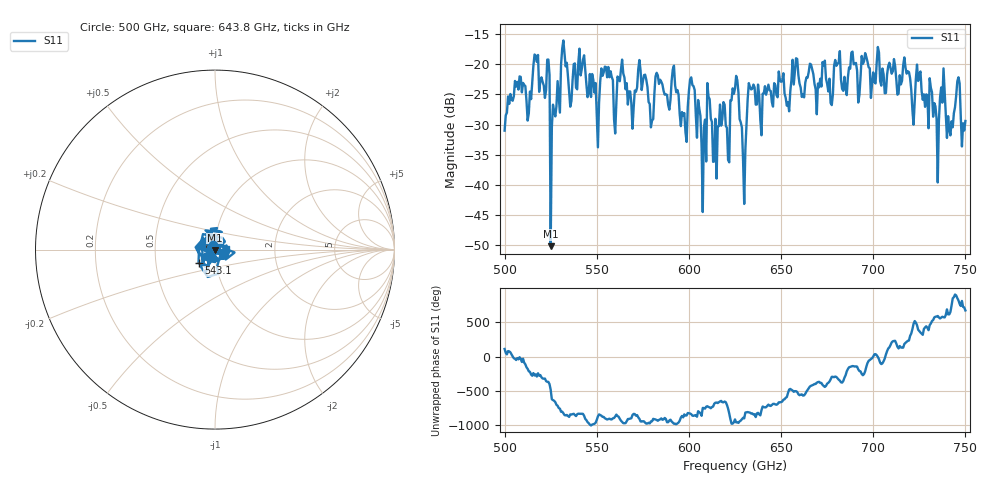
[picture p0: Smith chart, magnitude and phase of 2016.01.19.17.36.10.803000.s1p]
!Created with skrf (http://scikit-rf.org).
# GHz S RI R 50.0
!freq ReS11 ImS11
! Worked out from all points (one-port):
!   401 points, 500 GHz to 750 GHz, reference 50 ohm
!   lowest |S11| = -50.2 dB at 525 GHz (marker M1), VSWR 1.01, Z = 49.8 - j0.259 ohm
!   |S11| at or under -10 dB: start of sweep to end of sweep
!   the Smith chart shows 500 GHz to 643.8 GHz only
!   S11 on the Smith chart (normalised r, x): 500 GHz: 0.98, +0.05; 543.1 GHz: 0.82, -0.13; 643.8 GHz: 1.13, +0.01
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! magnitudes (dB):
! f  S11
! 500 GHz  -31.0
! 506.9 GHz  -22.9
! 513.1 GHz  -28.1
! 516.9 GHz  -18.5
! 523.1 GHz  -19.2
! 525 GHz  -50.2
! 526.2 GHz  -26.7
! 531.2 GHz  -17.4
! 543.1 GHz  -18.5
! 550 GHz  -28.5
! 562.5 GHz  -22.8
! 579.4 GHz  -30.5
! 583.1 GHz  -21.8
! 593.8 GHz  -24.3
! 597.5 GHz  -28.1
! 601.9 GHz  -23.4
! 608.1 GHz  -30.4
! 611.2 GHz  -25.8
! 614.4 GHz  -29.0
! 625 GHz  -24.0
! 630 GHz  -43.2
! 633.8 GHz  -24.2
! 643.8 GHz  -24.3
! 656.2 GHz  -19.3
! 687.5 GHz  -20.7
! 718.8 GHz  -21.2
! 733.8 GHz  -27.0
! 750 GHz  -29.4
